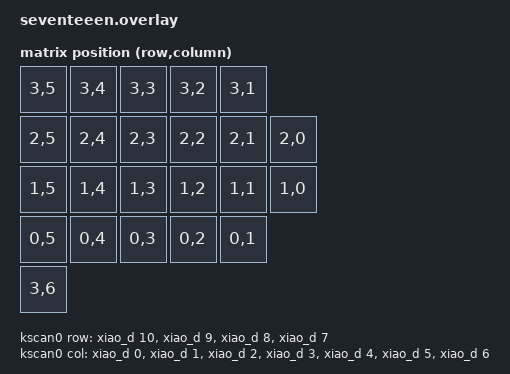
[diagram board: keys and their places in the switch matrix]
#include <dt-bindings/zmk/matrix_transform.h>
#include "seventeeen-layouts.dtsi"

&physical_layout0 {
    kscan = <&kscan0>;
    transform = <&matrix_transform0>;
};

/ {
    /* un-flipped:
       "rows": bottom=P3, home=P4, top=P5, num=P6
       "cols": outer=P0, pinky=P1, ring=P2, middle=P10, index=P9, inner=P8
       "thumb": row=P6 (reused), column=P7

       flipping keeps (by jumpers) P0, P1 and P2,
            flips (by keeping) P10<->P3, P9<->P4, P8<->P5, P7<->P6
       "rows": bottom=P10, home=P9, top=P8, num=P7
       "cols": outer=P0, pinky=P1, ring=P2, middle=P3, index=P4, inner=P5
       "thumb": row=P7 (reused), column=P6

       this one is for the right
    */

    kscan0: kscan_0 {
        compatible = "zmk,kscan-gpio-matrix";
        diode-direction = "col2row";
        wakeup-source;

        col-gpios
            = <&xiao_d 0 GPIO_ACTIVE_HIGH>
            , <&xiao_d 1 GPIO_ACTIVE_HIGH>
            , <&xiao_d 2 GPIO_ACTIVE_HIGH>
            , <&xiao_d 3 GPIO_ACTIVE_HIGH>
            , <&xiao_d 4 GPIO_ACTIVE_HIGH>
            , <&xiao_d 5 GPIO_ACTIVE_HIGH>
            , <&xiao_d 6 GPIO_ACTIVE_HIGH>
            ;

        row-gpios
            = <&xiao_d 10 (GPIO_ACTIVE_HIGH | GPIO_PULL_DOWN)>
            , <&xiao_d 9 (GPIO_ACTIVE_HIGH | GPIO_PULL_DOWN)>
            , <&xiao_d 8 (GPIO_ACTIVE_HIGH | GPIO_PULL_DOWN)>
            , <&xiao_d 7 (GPIO_ACTIVE_HIGH | GPIO_PULL_DOWN)>
            ;
    };

    matrix_transform0: keymap_transform_0 {
        compatible = "zmk,matrix-transform";
        columns = <6>;
        rows = <4>;
        map = <
    RC(3,5) RC(3,4) RC(3,3) RC(3,2) RC(3,1)
    RC(2,5) RC(2,4) RC(2,3) RC(2,2) RC(2,1) RC(2,0)
    RC(1,5) RC(1,4) RC(1,3) RC(1,2) RC(1,1) RC(1,0)
    RC(0,5) RC(0,4) RC(0,3) RC(0,2) RC(0,1)
    RC(3,6)
        >;
    };

    /*
            RC(3,1) RC(3,2) RC(3,3) RC(3,4) RC(3,5)
    RC(2,0) RC(2,1) RC(2,2) RC(2,3) RC(2,4) RC(2,5)
    RC(1,0) RC(1,1) RC(1,2) RC(1,3) RC(1,4) RC(1,5)
            RC(0,1) RC(0,2) RC(0,3) RC(0,4) RC(0,5)
                                            RC(3,6)
    */
};
